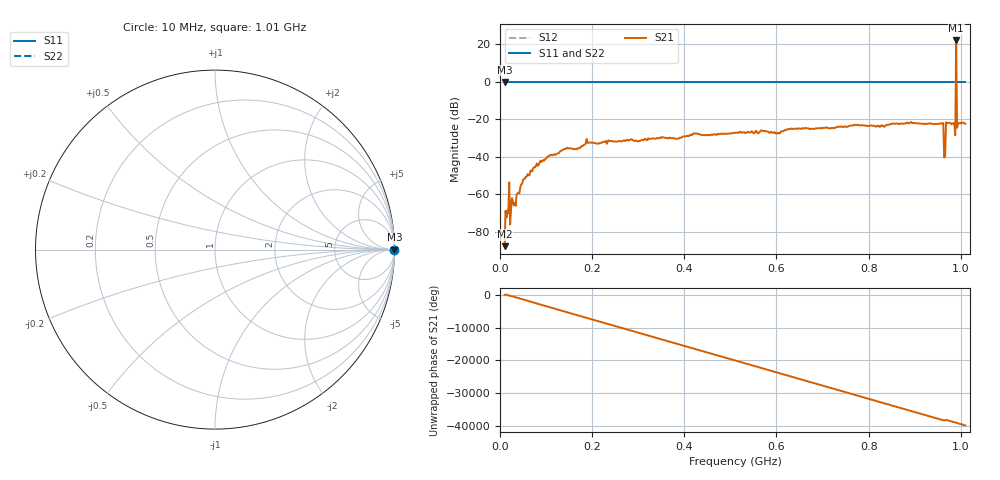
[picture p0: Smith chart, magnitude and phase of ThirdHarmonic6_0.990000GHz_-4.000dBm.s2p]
! 8/16/2025 7:48:58 AM
! C:\ANRITSUVNA\TEMP\TEMP.S2P
! CHANNEL.1
! TR.MEASUREMENT
! RAW.DATA
! RF.CORRECTION.OFF
! AVERAGING.OFF
! IF.BANDWIDTH: 5KHZ
! SWEEPTYPE:  FREQ.SWEEP(Linear)
! Reference Plane Port Info
! PORT:  PORT1  PORT2
! DISTANCE:  0  m  0  m
! TIME:  0  s  0  s
! PHASE.OFFSET:  0  deg.  0  deg.
! LOSS:  0  dB  0  dB
! REF.LOSS:  0  dB  0  dB
! REF.FREQ:  0  Hz  0  Hz
! Power Info
! POWER:  -20  dBm  -20  dBm
! EFF.POWER:  -20  dBm  -20  dBm
! SOURCE.ATTEN:  0  dB  0  dB
! TEST.ATTEN:  0  dB  0  dB
# GHZ S RI R 50.0
! FREQ.GHZ  S11RE  S11IM  S21RE  S21IM  S12RE  S12IM  S22RE  S22IM
!; PortSelection: Port_12
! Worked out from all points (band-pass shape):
!   501 points, 10 MHz to 1.01 GHz, reference 50 ohm
!   highest |S21| = 22.11 dB at 990 MHz (marker M1); lowest = -87.7 dB at 10 MHz (marker M2)
!   |S21| within 3 dB of the highest: 989.8814 MHz to 990.1286 MHz (247.2 kHz wide, 0.025 % of centre)
!   lowest |S11| = 0.0 dB at 10 MHz (marker M3)
!   |S11| at or under -10 dB: nowhere
!   |S22| runs from 0.0 to 0.0 dB; largest |S21 - S12| = 12
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0.01  1 0  -2.41e-05 -3.35e-05  1 0  1 0
0.016  1 0  -0.000212 -0.000302  1 0  1 0
0.024  1 0  0.000255 -0.000304  1 0  1 0
0.026  1 0  -0.000361 -0.000705  1 0  1 0
0.05  1 0  0.00229 -0.000798  1 0  1 0
0.076  1 0  0.00524 2.1e-05  1 0  1 0
0.142  1 0  -0.0151 -0.00619  1 0  1 0
0.178  1 0  -0.0189 -0.0045  1 0  1 0
0.344  1 0  0.0307 -0.00483  1 0  1 0
0.51  1 0  -0.0421 0.0128  1 0  1 0
0.678  1 0  -0.0182 -0.0527  1 0  1 0
0.844  1 0  0.0409 0.0597  1 0  1 0
0.958  1 0  -0.0617 0.0489  1 0  1 0
0.962  1 0  0.0759 -0.0227  1 0  1 0
0.968  1 0  -0.0148 0.0821  1 0  1 0
0.972  1 0  0.0391 -0.07  1 0  1 0
0.984  1 0  -0.0788 0.00529  1 0  1 0
0.986  1 0  -0.00711 0.08  1 0  1 0
0.99  1 0  12.35 3.135  1 0  1 0
0.994  1 0  -0.0518 0.057  1 0  1 0
0.996  1 0  0.0467 0.0634  1 0  1 0
1.01  1 0  -0.0687 -0.0326  1 0  1 0
